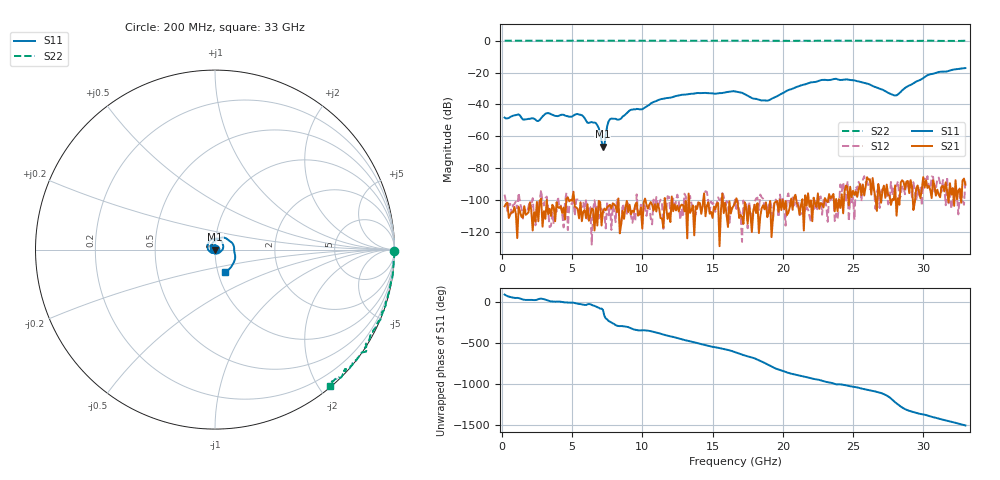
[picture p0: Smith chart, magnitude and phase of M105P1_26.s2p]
# GHZ S RI R 50
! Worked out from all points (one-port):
!   329 points, 200 MHz to 33 GHz, reference 50 ohm
!   lowest |S11| = -66.6 dB at 7.2 GHz (marker M1), VSWR 1.00, Z = 50 - j0.046 ohm
!   |S11| at or under -10 dB: start of sweep to end of sweep
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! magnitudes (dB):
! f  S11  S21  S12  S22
! 200 MHz  -48.2  -103.9  -96.5  0.0
! 1.2 GHz  -46.2  -104.1  -95.4  0.0
! 2.6 GHz  -50.4  -113.3  -106.2  0.0
! 3.2 GHz  -45.5  -99.9  -97.8  0.0
! 5.7 GHz  -46.7  -113.2  -104.4  0.0
! 6.1 GHz  -51.5  -102.6  -111.7  0.0
! 6.7 GHz  -51.7  -105.0  -105.5  0.0
! 7 GHz  -57.8  -101.2  -102.6  0.0
! 7.2 GHz  -66.6  -107.1  -105.9  0.0
! 7.3 GHz  -65.9  -105.3  -108.8  0.0
! 7.5 GHz  -53.7  -104.5  -100.9  0.0
! 7.7 GHz  -49.3  -103.0  -102.9  0.0
! 8.4 GHz  -49.3  -120.8  -116.6  0.0
! 11.2 GHz  -37.0  -105.3  -102.0  0.0
! 16.6 GHz  -31.8  -101.8  -99.7  0.0
! 18.9 GHz  -37.6  -110.7  -106.7  -0.1
! 22.1 GHz  -26.0  -113.2  -106.2  -0.1
! 25.1 GHz  -24.9  -96.6  -112.4  0.0
! 27.6 GHz  -33.1  -97.1  -100.6  0.0
! 28.1 GHz  -34.3  -109.7  -90.9  0.0
! 30.4 GHz  -21.3  -91.1  -91.5  0.0
! 33 GHz  -17.2  -90.3  -88.2  0.0
